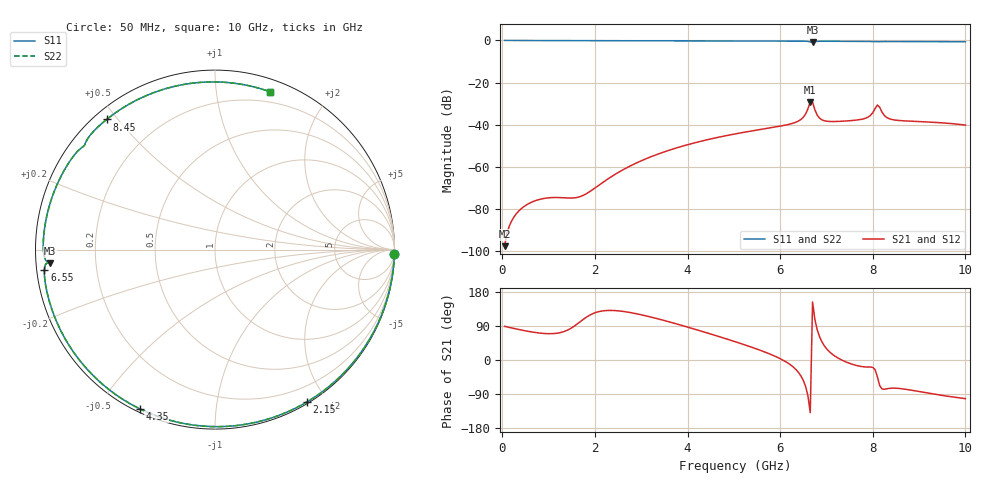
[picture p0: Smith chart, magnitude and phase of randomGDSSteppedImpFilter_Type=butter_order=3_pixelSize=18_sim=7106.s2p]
! freq	dB(S11)	phase(S11)	dB(S12)	phase(S12)
!  dB(S21)	phase(S21)	dB(S22)	phase(S22)
!S-par simulation data
#  GHz  S  DB  R 50
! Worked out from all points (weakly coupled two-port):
!   200 points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, 50 MHz to 10 GHz, reference 50 ohm
!   highest |S21| = -29.19 dB at 6.65 GHz (marker M1); lowest = -97.7 dB at 50 MHz (marker M2)
!   lowest |S11| = -0.7 dB at 6.7 GHz (marker M3), VSWR 24.82, Z = 2.02 - j2.09 ohm
!   |S11| at or under -10 dB: nowhere
!   |S22| runs from -0.7 to 0.0 dB; largest |S21 - S12| = 0
!   S11 on the Smith chart (normalised r, x): 50 MHz: 0, -81; 2.15 GHz: 0.02, -1.77; 4.35 GHz: 0.01, -0.63; 6.55 GHz: 0.02, -0.06; 8.45 GHz: 0.04, +0.47; 10 GHz: 0.11, +1.40
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0.05  -0.00 -1.4  -97.73 88.7  -97.73 88.7  -0.00 -1.4
0.4  -0.01 -11.2  -80.11 79.4  -80.11 79.4  -0.01 -11.2
0.9  -0.03 -25.1  -75.05 70.0  -75.05 70.0  -0.03 -25.1
1.75  -0.06 -48.3  -73.56 107.3  -73.56 107.3  -0.06 -48.3
2.15  -0.07 -59.0  -67.75 129.2  -67.75 129.2  -0.07 -59.0
2.75  -0.10 -74.7  -59.76 125.5  -59.76 125.5  -0.10 -74.7
3.4  -0.12 -91.4  -53.68 107.4  -53.68 107.4  -0.12 -91.4
4.35  -0.16 -115.3  -47.56 74.2  -47.56 74.2  -0.16 -115.4
5.05  -0.20 -133.0  -44.31 47.5  -44.31 47.5  -0.20 -133.0
6.25  -0.30 -164.3  -39.50 -15.2  -39.50 -15.2  -0.30 -164.4
6.55  -0.38 -173.2  -34.94 -69.9  -34.94 -69.9  -0.38 -173.2
6.65  -0.68 -176.1  -29.19 -138.9  -29.19 -138.9  -0.69 -176.2
6.7  -0.70 -175.2  -29.38 153.2  -29.38 153.2  -0.70 -175.3
6.8  -0.41 -178.1  -35.47 80.0  -35.47 80.0  -0.41 -178.1
7  -0.38 175.6  -38.35 30.0  -38.35 30.0  -0.38 175.6
7.85  -0.47 149.4  -36.90 -18.4  -36.90 -18.4  -0.47 149.3
7.95  -0.50 146.1  -35.60 -18.5  -35.60 -18.5  -0.50 146.0
8.1  -0.63 141.6  -30.67 -44.5  -30.67 -44.5  -0.63 141.5
8.35  -0.50 133.3  -37.14 -75.1  -37.14 -75.1  -0.50 133.3
8.45  -0.50 129.8  -37.72 -74.3  -37.72 -74.3  -0.50 129.7
9.25  -0.57 100.4  -38.81 -88.7  -38.81 -88.7  -0.57 100.3
10  -0.62 70.8  -40.21 -102.0  -40.21 -102.0  -0.62 70.7
